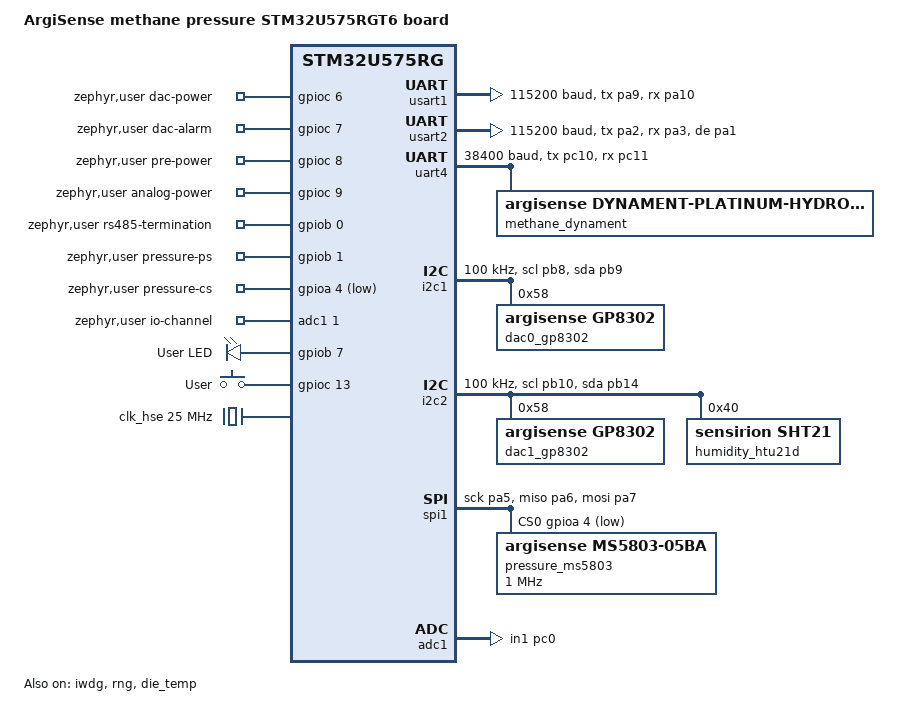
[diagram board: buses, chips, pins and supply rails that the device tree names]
/*
 * SPDX-License-Identifier: Apache-2.0
 */

/dts-v1/;

#include <st/u5/stm32u575Xg.dtsi>
#include <st/u5/stm32u575rgtx-pinctrl.dtsi>
#include <zephyr/dt-bindings/input/input-event-codes.h>

/ {
	model = "ArgiSense methane pressure STM32U575RGT6 board";
	compatible = "argisense,stm32u575rg-mp";

	#address-cells = <1>;
	#size-cells = <1>;

	chosen {
		zephyr,console = &usart1;
		zephyr,shell-uart = &usart1;
		zephyr,sram = &sram0;
		zephyr,flash = &flash0;
		zephyr,code-partition = &slot0_partition;
	};

	aliases {
		led0 = &blue_led;
		sw0 = &user_button;
		i2c-0 = &i2c1;
		i2c-1 = &i2c2;
		spi-0 = &spi1;
		current-loop-dac0 = &dac0_gp8302;
		current-loop-dac1 = &dac1_gp8302;
		pressure-sensor = &pressure_ms5803;
		methane-sensor = &methane_dynament;
		humidity-sensor = &humidity_htu21d;
		rs485-uart = &usart2;
		methane-uart = &uart4;
		thermistor-adc = &adc1;
		watchdog0 = &iwdg;
		die-temp0 = &die_temp;
	};

	zephyr,user {
		dac-channel-count = <2>;
		dac0-output-source = "methane";
		dac1-output-source = "pressure";
		dac-power-gpios = <&gpioc 6 GPIO_ACTIVE_HIGH>;
		dac-alarm-gpios = <&gpioc 7 GPIO_ACTIVE_HIGH>;
		pre-power-gpios = <&gpioc 8 GPIO_ACTIVE_HIGH>;
		analog-power-gpios = <&gpioc 9 GPIO_ACTIVE_HIGH>;
		rs485-termination-gpios = <&gpiob 0 GPIO_ACTIVE_HIGH>;
		pressure-part-number = "MS580305BA01-00";
		pressure-interface = "spi";
		pressure-ps-active-state = "low";
		humidity-part-number = "HTU21D";
		humidity-interface = "i2c2";
		pressure-ps-gpios = <&gpiob 1 GPIO_ACTIVE_HIGH>;
		pressure-cs-gpios = <&gpioa 4 GPIO_ACTIVE_LOW>;
		io-channels = <&adc1 1>;
	};

	leds {
		compatible = "gpio-leds";

		blue_led: led_0 {
			gpios = <&gpiob 7 GPIO_ACTIVE_HIGH>;
			label = "User LED";
		};
	};

	gpio_keys {
		compatible = "gpio-keys";

		user_button: button_0 {
			label = "User";
			gpios = <&gpioc 13 (GPIO_ACTIVE_HIGH | GPIO_PULL_DOWN)>;
			zephyr,code = <INPUT_KEY_0>;
		};
	};
};

&flash0 {
	partitions {
		compatible = "fixed-partitions";
		#address-cells = <1>;
		#size-cells = <1>;

		/*
		 * STM32U575RGT6 has 1024 KiB of flash.
		 * Layout keeps MCUboot-ready slots while leaving room for storage.
		 */
		boot_partition: partition@0 {
			label = "mcuboot";
			reg = <0x00000000 DT_SIZE_K(64)>;
		};

		slot0_partition: partition@10000 {
			label = "image-0";
			reg = <0x00010000 DT_SIZE_K(448)>;
		};

		slot1_partition: partition@80000 {
			label = "image-1";
			reg = <0x00080000 DT_SIZE_K(448)>;
		};

		storage_partition: partition@f0000 {
			label = "storage";
			reg = <0x000f0000 DT_SIZE_K(64)>;
		};
	};
};

&clk_hse {
	status = "okay";
	clock-frequency = <DT_FREQ_M(25)>;
};

&pll1 {
	div-m = <5>;
	mul-n = <64>;
	div-q = <2>;
	div-r = <2>;
	clocks = <&clk_hse>;
	status = "okay";
};

&rcc {
	clocks = <&pll1>;
	clock-frequency = <DT_FREQ_M(160)>;
	ahb-prescaler = <1>;
	apb1-prescaler = <1>;
	apb2-prescaler = <1>;
	apb3-prescaler = <1>;
};

&usart1 {
	pinctrl-0 = <&usart1_tx_pa9 &usart1_rx_pa10>;
	pinctrl-names = "default";
	current-speed = <115200>;
	status = "okay";
};

&usart2 {
	pinctrl-0 = <&usart2_tx_pa2 &usart2_rx_pa3 &usart2_de_pa1>;
	pinctrl-names = "default";
	current-speed = <115200>;
	de-enable;
	status = "okay";
};

&uart4 {
	pinctrl-0 = <&uart4_tx_pc10 &uart4_rx_pc11>;
	pinctrl-names = "default";
	current-speed = <38400>;
	status = "okay";

	methane_dynament: methane-sensor {
		compatible = "argisense,dynament-platinum-hydrocarbon";
		gas-type = "methane";
		protocol = "dynament-premier-live-data-simple";
		full-scale-percent-x100 = <10000>;
		live-data-variable-id = <0x06>;
		warmup-time-ms = <60000>;
		read-period-ms = <5000>;
		logic-level-mv = <2800>;
		status = "okay";
	};
};

&i2c1 {
	pinctrl-0 = <&i2c1_scl_pb8 &i2c1_sda_pb9>;
	pinctrl-names = "default";
	clock-frequency = <I2C_BITRATE_STANDARD>;
	status = "okay";

	dac0_gp8302: dac@58 {
		compatible = "argisense,gp8302";
		reg = <0x58>;
		#io-channel-cells = <1>;
		output-source = "methane";
		max-current-microamp = <25000>;
		status = "okay";
	};
};

&i2c2 {
	pinctrl-0 = <&i2c2_scl_pb10 &i2c2_sda_pb14>;
	pinctrl-names = "default";
	clock-frequency = <I2C_BITRATE_STANDARD>;
	status = "okay";

	dac1_gp8302: dac@58 {
		compatible = "argisense,gp8302";
		reg = <0x58>;
		#io-channel-cells = <1>;
		output-source = "pressure";
		max-current-microamp = <25000>;
		status = "okay";
	};

	humidity_htu21d: humidity-sensor@40 {
		compatible = "sensirion,sht21";
		reg = <0x40>;
		status = "okay";
	};
};

&spi1 {
	pinctrl-0 = <&spi1_sck_pa5 &spi1_miso_pa6 &spi1_mosi_pa7>;
	pinctrl-names = "default";
	cs-gpios = <&gpioa 4 GPIO_ACTIVE_LOW>;
	status = "okay";

	pressure_ms5803: pressure-sensor@0 {
		compatible = "argisense,ms5803-05ba";
		reg = <0>;
		spi-max-frequency = <1000000>;
		part-number = "MS580305BA01-00";
		pressure-range-kpa = <500>;
		resolution-bits = <24>;
		status = "okay";
	};
};

&adc1 {
	pinctrl-0 = <&adc1_in1_pc0>;
	pinctrl-names = "default";
	st,adc-clock-source = "ASYNC";
	st,adc-prescaler = <4>;
	vref-mv = <3300>;
	status = "okay";
};

&iwdg {
	status = "okay";
};

&rng {
	status = "okay";
};

&die_temp {
	status = "okay";
};
